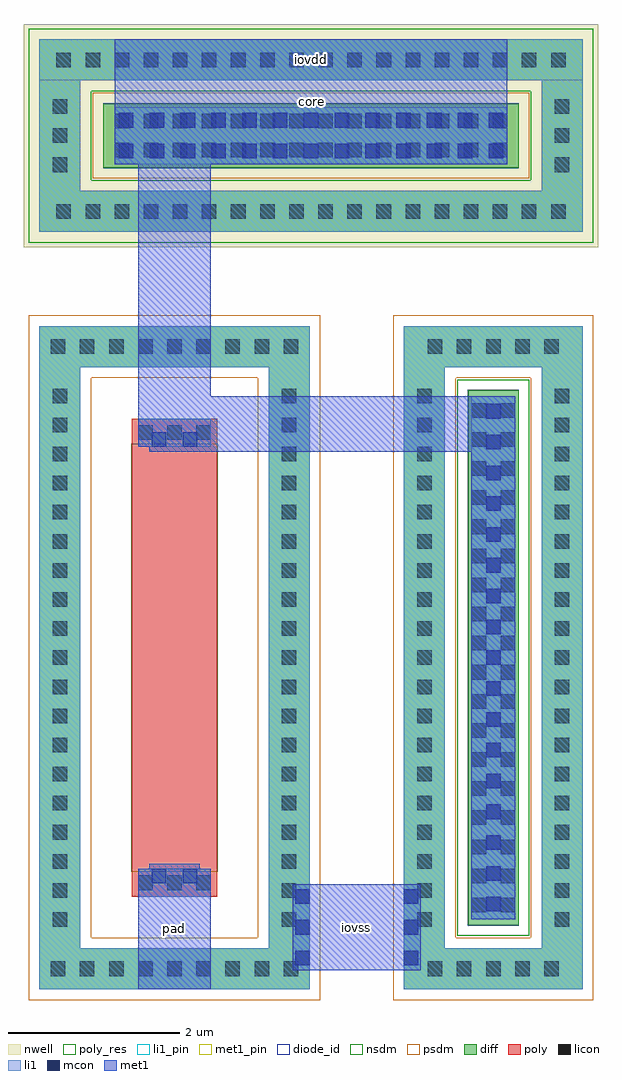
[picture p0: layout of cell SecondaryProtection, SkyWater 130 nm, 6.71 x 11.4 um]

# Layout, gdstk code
import gdstk
lib = gdstk.Library(unit=1e-6, precision=1e-09)
def R(c, l, rs):  # rectangles x0, y0, x1, y1
    for r in rs: c.add(gdstk.rectangle(r[:2], r[2:], *l))
def A(c, l, x, y, w, h, nx, ny, dx, dy):  # array of equal rectangles
    R(c, l, [(x+i*dx, y+j*dy, x+i*dx+w, y+j*dy+h) for i in range(nx) for j in range(ny)])
def P(c, l, *ps):  # polygons
    for p in ps: c.add(gdstk.Polygon(p, *l))
nwell = (64, 20)
diff = (65, 20)
poly_res = (66, 13)
poly = (66, 20)
licon = (66, 44)
li1_pin = (67, 16)
li1 = (67, 20)
mcon = (67, 44)
met1_pin = (68, 16)
met1 = (68, 20)
diode_id = (81, 23)
nsdm = (93, 44)
psdm = (94, 20)

guardring_p632w1550hff = lib.new_cell('GuardRing_P632W1550HFF')
P(guardring_p632w1550hff, diff, [(-1.58,-3.875),(-1.58,3.395),(-1.1,3.395),(-1.1,-3.395),(1.1,-3.395),(1.1,3.395),(-1.58,3.395),(-1.58,3.875),(1.58,3.875),(1.58,-3.875)])
A(guardring_p632w1550hff, licon, -1.445, -3.72, 0.17, 0.17, 9, 2, 0.34, 7.27)
A(guardring_p632w1550hff, licon, -1.425, -3.145, 0.17, 0.17, 1, 19, 0, 0.34)
A(guardring_p632w1550hff, licon, 1.255, -3.145, 0.17, 0.17, 1, 19, 0, 0.34)
P(guardring_p632w1550hff, li1, [(-1.58,-3.875),(-1.58,3.395),(-1.1,3.395),(-1.1,-3.395),(1.1,-3.395),(1.1,3.395),(-1.58,3.395),(-1.58,3.875),(1.58,3.875),(1.58,-3.875)])
P(guardring_p632w1550hff, psdm, [(-1.705,-4),(-1.705,3.27),(-0.975,3.27),(-0.975,-3.27),(0.975,-3.27),(0.975,3.27),(-1.705,3.27),(-1.705,4),(1.705,4),(1.705,-4)])

guardring_p418w1550hff = lib.new_cell('GuardRing_P418W1550HFF')
P(guardring_p418w1550hff, diff, [(-1.045,-3.875),(-1.045,3.395),(-0.565,3.395),(-0.565,-3.395),(0.565,-3.395),(0.565,3.395),(-1.045,3.395),(-1.045,3.875),(1.045,3.875),(1.045,-3.875)])
A(guardring_p418w1550hff, licon, -0.765, -3.72, 0.17, 0.17, 5, 2, 0.34, 7.27)
A(guardring_p418w1550hff, licon, -0.89, -3.145, 0.17, 0.17, 1, 19, 0, 0.34)
A(guardring_p418w1550hff, licon, 0.72, -3.145, 0.17, 0.17, 1, 19, 0, 0.34)
P(guardring_p418w1550hff, li1, [(-1.045,-3.875),(-1.045,3.395),(-0.565,3.395),(-0.565,-3.395),(0.565,-3.395),(0.565,3.395),(-1.045,3.395),(-1.045,3.875),(1.045,3.875),(1.045,-3.875)])
P(guardring_p418w1550hff, psdm, [(-1.17,-4),(-1.17,3.27),(-0.44,3.27),(-0.44,-3.27),(0.44,-3.27),(0.44,3.27),(-1.17,3.27),(-1.17,4),(1.17,4),(1.17,-4)])

guardring_n1270w450htf = lib.new_cell('GuardRing_N1270W450HTF')
R(guardring_n1270w450htf, nwell, [(-3.355,-1.305,3.355,1.305)])
P(guardring_n1270w450htf, diff, [(-3.175,-1.125),(-3.175,0.645),(-2.695,0.645),(-2.695,-0.645),(2.695,-0.645),(2.695,0.645),(-3.175,0.645),(-3.175,1.125),(3.175,1.125),(3.175,-1.125)])
A(guardring_n1270w450htf, licon, -2.975, -0.97, 0.17, 0.17, 18, 2, 0.34, 1.77)
A(guardring_n1270w450htf, licon, -3.02, -0.425, 0.17, 0.17, 1, 3, 0, 0.34)
A(guardring_n1270w450htf, licon, 2.85, -0.425, 0.17, 0.17, 1, 3, 0, 0.34)
P(guardring_n1270w450htf, li1, [(-3.175,-1.125),(-3.175,0.645),(-2.695,0.645),(-2.695,-0.645),(2.695,-0.645),(2.695,0.645),(-3.175,0.645),(-3.175,1.125),(3.175,1.125),(3.175,-1.125)])
P(guardring_n1270w450htf, nsdm, [(-3.3,-1.25),(-3.3,0.52),(-2.57,0.52),(-2.57,-0.52),(2.57,-0.52),(2.57,0.52),(-3.3,0.52),(-3.3,1.25),(3.3,1.25),(3.3,-1.25)])

secondaryprotection = lib.new_cell('SecondaryProtection')
R(secondaryprotection, nwell, [(0.57,9.42,5.78,10.53)])
R(secondaryprotection, diff, [(5.01,0.75,5.6,7), (0.75,9.6,5.6,10.35)])
R(secondaryprotection, poly_res, [(1.075,1.375,2.085,6.375)])
R(secondaryprotection, poly, [(1.08,1.08,2.08,6.67)])
A(secondaryprotection, licon, 5.05, 0.9, 0.17, 0.17, 1, 18, 0, 0.34)
A(secondaryprotection, licon, 5.39, 0.9, 0.17, 0.17, 1, 18, 0, 0.34)
A(secondaryprotection, licon, 1.155, 1.16, 0.17, 0.17, 3, 2, 0.34, 5.26)
A(secondaryprotection, licon, 0.88, 9.72, 0.17, 0.17, 14, 2, 0.34, 0.34)
R(secondaryprotection, li1_pin, [(0,10.62,6.35,11.1)])
R(secondaryprotection, li1, [(2.99,0.28,3.16,1.17), (4.26,0.28,4.43,1.17), (5.05,0.82,5.56,6.93), (1.155,1.08,2.005,1.41), (1.155,6.34,2.005,6.67), (0.88,9.64,5.47,10.31), (0,10.62,6.35,11.1)])
A(secondaryprotection, mcon, 2.99, 0.28, 0.17, 0.17, 1, 3, 0, 0.36)
A(secondaryprotection, mcon, 4.26, 0.28, 0.17, 0.17, 1, 3, 0, 0.36)
A(secondaryprotection, mcon, 5.22, 0.91, 0.17, 0.17, 1, 17, 0, 0.36)
A(secondaryprotection, mcon, 0.93, 9.71, 0.17, 0.17, 13, 2, 0.36, 0.36)
R(secondaryprotection, mcon, [(1.315,1.24,1.485,1.41), (1.675,1.24,1.845,1.41), (1.315,6.34,1.485,6.51), (1.675,6.34,1.845,6.51)])
R(secondaryprotection, met1_pin, [(1.155,0,2.005,1.41), (2.96,0.22,4.46,1.23), (0.88,9.64,5.47,11.1)])
R(secondaryprotection, met1, [(2.96,0.22,4.46,1.23)])
P(secondaryprotection, met1, [(1.155,0),(1.155,1.41),(1.285,1.41),(1.285,1.47),(1.875,1.47),(1.875,1.41),(2.005,1.41),(2.005,0)],
  [(5.05,0.82),(5.05,6.28),(1.285,6.28),(1.285,6.34),(1.155,6.34),(1.155,9.64),(0.88,9.64),(0.88,11.1),(5.47,11.1),(5.47,9.64),(2.005,9.64),(2.005,6.93),(5.56,6.93),(5.56,0.82)])
R(secondaryprotection, diode_id, [(5.005,0.745,5.605,7.005), (0.745,9.595,5.605,10.355)])
R(secondaryprotection, nsdm, [(4.885,0.625,5.725,7.125)])
R(secondaryprotection, psdm, [(0.625,9.475,5.725,10.475)])
secondaryprotection.add(gdstk.Reference(guardring_p632w1550hff, (1.58,3.875)))
secondaryprotection.add(gdstk.Reference(guardring_p418w1550hff, (5.305,3.875)))
secondaryprotection.add(gdstk.Reference(guardring_n1270w450htf, (3.175,9.975)))
secondaryprotection.add(gdstk.Label('pad', (1.58,0.705), layer=68, texttype=16))
secondaryprotection.add(gdstk.Label('core', (3.175,10.37), layer=68, texttype=16))
secondaryprotection.add(gdstk.Label('iovss', (3.71,0.725), layer=68, texttype=16))
secondaryprotection.add(gdstk.Label('iovdd', (3.175,10.86), layer=67, texttype=16))

lib.write_gds('SecondaryProtection.gds')
